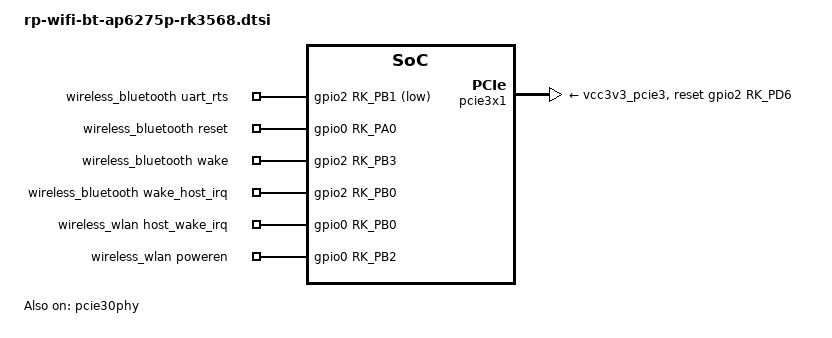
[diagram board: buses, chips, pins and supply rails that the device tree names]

/ {
    wireless_bluetooth: wireless-bluetooth {
        compatible = "bluetooth-platdata";
        clocks = <&rk809 1>;
        clock-names = "ext_clock";
        uart_rts_gpios = <&gpio2 RK_PB1 GPIO_ACTIVE_LOW>;
        pinctrl-names = "default", "rts_gpio";
        pinctrl-0 = <&uart8m0_rtsn>;
        pinctrl-1 = <&uart8_gpios>;
        BT,reset_gpio    = <&gpio0 RK_PA0 GPIO_ACTIVE_HIGH>;
        BT,wake_gpio     = <&gpio2 RK_PB3 GPIO_ACTIVE_HIGH>;
        BT,wake_host_irq = <&gpio2 RK_PB0 GPIO_ACTIVE_HIGH>;
        status = "okay";
    };

    wireless_wlan: wireless-wlan {
        compatible = "wlan-platdata";
        wifi_chip_type = "ap6275p";
        pinctrl-names = "default";
        rockchip,grf = <&grf>;
        pinctrl-0 = <&wifi_host_wake_irq>, <&wifi_poweren_gpio>;
        WIFI,host_wake_irq = <&gpio0 RK_PB0 GPIO_ACTIVE_HIGH>;
        WIFI,poweren_gpio = <&gpio0 RK_PB2 GPIO_ACTIVE_HIGH>;
        status = "okay";
    };
};

&pcie30phy {
            status = "okay";
};

&pcie3x1 {                                                
        rockchip,bifurcation;                                                                                                  
        reset-gpios = <&gpio2 RK_PD6 GPIO_ACTIVE_HIGH>;
        vpcie3v3-supply = <&vcc3v3_pcie3>;                 
        status = "okay";                                  
};     

&pinctrl {
    wireless-bluetooth {
        uart8_gpios: uart8-gpios {
            rockchip,pins = <2 RK_PB1 RK_FUNC_GPIO &pcfg_pull_none>;
        };
    };
};
